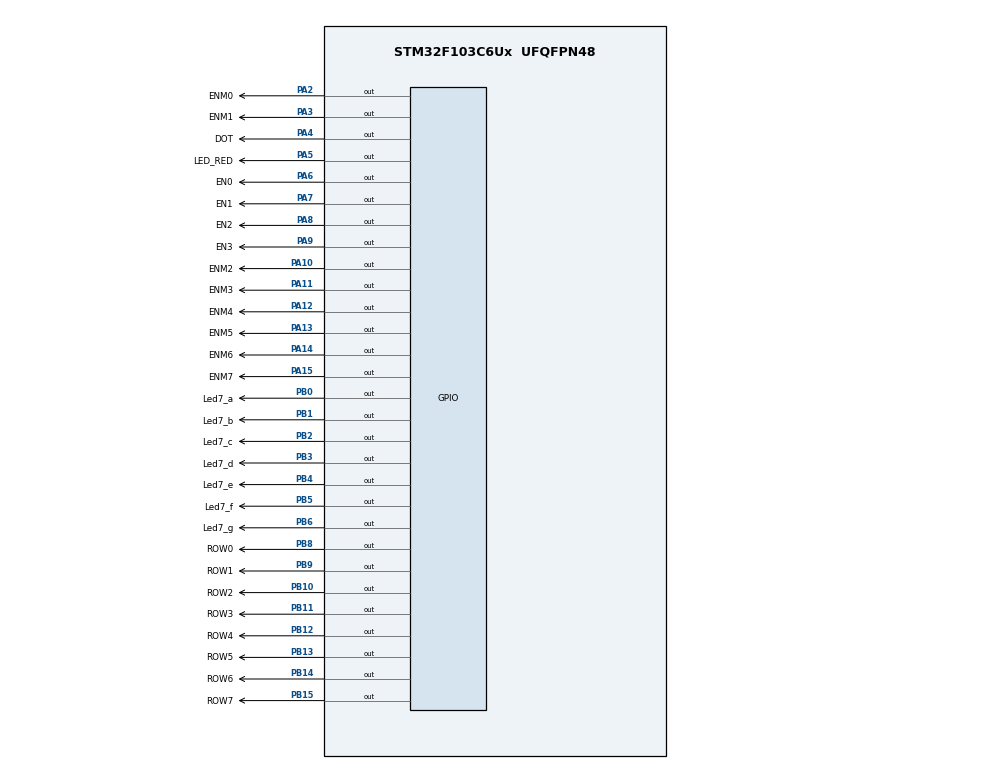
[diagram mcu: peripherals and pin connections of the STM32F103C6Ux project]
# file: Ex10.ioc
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Mcu.Family=STM32F1
Mcu.Name=STM32F103C6Ux
Mcu.Package=UFQFPN48
NVIC.PriorityGroup=NVIC_PRIORITYGROUP_4
NVIC.TIM2_IRQn=true\:0\:0\:false\:false\:true\:true\:true
PA10.GPIO_Label=ENM2
PA10.Signal=GPIO_Output
PA11.GPIO_Label=ENM3
PA11.Signal=GPIO_Output
PA12.GPIO_Label=ENM4
PA12.Signal=GPIO_Output
PA13.GPIO_Label=ENM5
PA13.Signal=GPIO_Output
PA14.GPIO_Label=ENM6
PA14.Signal=GPIO_Output
PA15.GPIO_Label=ENM7
PA15.Signal=GPIO_Output
PA2.GPIO_Label=ENM0
PA2.Signal=GPIO_Output
PA3.GPIO_Label=ENM1
PA3.Signal=GPIO_Output
PA4.GPIO_Label=DOT
PA4.Signal=GPIO_Output
PA5.GPIO_Label=LED_RED
PA5.Signal=GPIO_Output
PA6.GPIO_Label=EN0
PA6.Signal=GPIO_Output
PA7.GPIO_Label=EN1
PA7.Signal=GPIO_Output
PA8.GPIO_Label=EN2
PA8.Signal=GPIO_Output
PA9.GPIO_Label=EN3
PA9.Signal=GPIO_Output
PB0.GPIO_Label=Led7_a
PB0.Signal=GPIO_Output
PB1.GPIO_Label=Led7_b
PB1.Signal=GPIO_Output
PB10.GPIO_Label=ROW2
PB10.Signal=GPIO_Output
PB11.GPIO_Label=ROW3
PB11.Signal=GPIO_Output
PB12.GPIO_Label=ROW4
PB12.Signal=GPIO_Output
PB13.GPIO_Label=ROW5
PB13.Signal=GPIO_Output
PB14.GPIO_Label=ROW6
PB14.Signal=GPIO_Output
PB15.GPIO_Label=ROW7
PB15.Signal=GPIO_Output
PB2.GPIO_Label=Led7_c
PB2.Signal=GPIO_Output
PB3.GPIO_Label=Led7_d
PB3.Signal=GPIO_Output
PB4.GPIO_Label=Led7_e
PB4.Signal=GPIO_Output
PB5.GPIO_Label=Led7_f
PB5.Signal=GPIO_Output
PB6.GPIO_Label=Led7_g
PB6.Signal=GPIO_Output
PB8.GPIO_Label=ROW0
PB8.Signal=GPIO_Output
PB9.GPIO_Label=ROW1
PB9.Signal=GPIO_Output
ProjectManager.HeapSize=0x200
ProjectManager.StackSize=0x400
ProjectManager.TargetToolchain=STM32CubeIDE
RCC.APB1Freq_Value=8000000
RCC.APB2Freq_Value=8000000
TIM2.Period=9
TIM2.Prescaler=7999
VP_SYS_VS_ND.Mode=No_Debug
VP_TIM2_VS_ClockSourceINT.Mode=Internal
board=custom

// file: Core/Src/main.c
/* USER CODE BEGIN Header */
/**
 ******************************************************************************
 * @file           : main.c
 * @brief          : Main program body
 ******************************************************************************
 * @attention
 *
 * <h2><center>&copy; Copyright (c) 2021 STMicroelectronics.
 * All rights reserved.</center></h2>
 *
 * This software component is licensed by ST under BSD 3-Clause license,
 * the "License"; You may not use this file except in compliance with the
 * License. You may obtain a copy of the License at:
 *                        opensource.org/licenses/BSD-3-Clause
 *
 ******************************************************************************
 */
/* USER CODE END Header */
#include "main.h"

TIM_HandleTypeDef htim2;

/* USER CODE BEGIN PV */
static GPIO_TypeDef *const LED7_PORT[7] = {
Led7_a_GPIO_Port, Led7_b_GPIO_Port, Led7_c_GPIO_Port, Led7_d_GPIO_Port,
Led7_e_GPIO_Port, Led7_f_GPIO_Port, Led7_g_GPIO_Port };

static const uint16_t LED7_PINS[7] = {
Led7_a_Pin, Led7_b_Pin, Led7_c_Pin, Led7_d_Pin, Led7_e_Pin, Led7_f_Pin,
Led7_g_Pin };

static const uint8_t LED7_MAP[10] = { 0b00111111, // 0
		0b00000110, // 1
		0b01011011, // 2
		0b01001111, // 3
		0b01100110, // 4
		0b01101101, // 5
		0b01111101, // 6
		0b00000111, // 7
		0b01111111, // 8
		0b01101111,  // 9
		};

const int MAX_LED = 4;

typedef enum {
	NUM1, NUM2, NUM3, NUM4
} num;
typedef enum {
	DARK, BRIGHT
} dot;

int led_buffer[4] = { 1, 0, 2, 0 };

const int MAX_LED_MATRIX = 8;
int index_led_matrix = 0;
uint8_t matrix_buffer[8] = { 0x00, // cột 0 (trái ngoài)
		0x7C, // cột 1
		0x12, // cột 2
		0x11, // cột 3
		0x11, // cột 4
		0x12, // cột 5
		0x7C, // cột 6
		0x00  // cột 7 (phải ngoài)
		};

static GPIO_TypeDef *const MATRIX_PORT[8] = {
ROW0_GPIO_Port, ROW1_GPIO_Port, ROW2_GPIO_Port, ROW3_GPIO_Port,
ROW4_GPIO_Port, ROW5_GPIO_Port, ROW6_GPIO_Port, ROW7_GPIO_Port };

static const uint16_t MATRIX_PIN[8] = {
ROW0_Pin, ROW1_Pin, ROW2_Pin, ROW3_Pin,
ROW4_Pin, ROW5_Pin, ROW6_Pin, ROW7_Pin };

#define GLYPH_LEN 8

// Mảng mô tả ký tự 'A' (các cột từ trái sang phải).
// Mình để padding 0 ở đầu và cuối để ký tự chui vào/ra màn hình mượt.
const uint8_t glyph_A[GLYPH_LEN] = {
    0x00, // padding
    0x7C, // 01111100
    0x12, // 00010010
    0x11, // 00010001
    0x11, // 00010001
    0x12, // 00010010
    0x7C, // 01111100
    0x00, // padding
};

// Scroll control
int scroll_offset = 0;         // vị trí bắt đầu lấy cửa sổ từ glyph_A
int scroll_tick = 0;           // đếm số frame (full refresh) đã trôi qua
const int SCROLL_SPEED_FRAMES = 1;

/* USER CODE END PV */

void SystemClock_Config(void);
static void MX_GPIO_Init(void);
static void MX_TIM2_Init(void);
/* USER CODE BEGIN PFP */
void HAL_TIM_PeriodElapsedCallback(TIM_HandleTypeDef*);
static void set_LED7_by_mask(uint8_t);
static void clear7SEG(void);
static void display7SEG(int);
static void initState(void);
static void update7SEG(int);
static void updateClockBuffer();
static void updateLEDMatrix(int);
static void displayLEDmatrix(uint8_t);
static void updateMatrixWindow(int);

/* USER CODE END PFP */

/* USER CODE BEGIN 0 */
int timer0_counter = 0;
int timer0_flag = 0;

int timer1_counter = 0;
int timer1_flag = 0;

int timer2_counter = 0;
int timer2_flag = 0;

int timer3_counter = 0;
int timer3_flag = 0;

int TIMER_CYCLE = 10;

int minute = 0;
int hour = 0;
int second = 0;
//Timer for counter seconds
void setTimer0(int duration) {
	timer0_counter = duration / TIMER_CYCLE;
	timer0_flag = 0;
}

//Timer for adjusting frequency of LED 7SEGs
void setTimer1(int duration) {
	timer1_counter = duration / TIMER_CYCLE;
	timer1_flag = 0;
}

//Timer for controlling LED dots
void setTimer2(int duration) {
	timer2_counter = duration / TIMER_CYCLE;
	timer2_flag = 0;
}

//Timer for controlling LED matrix
void setTimer3(int duration) {
	timer3_counter = duration / TIMER_CYCLE;
	timer3_flag = 0;
}

void timer_run() {
	if (timer0_counter > 0) {
		timer0_counter--;
		if (timer0_counter == 0)
			timer0_flag = 1;
	}
	if (timer1_counter > 0) {
		timer1_counter--;
		if (timer1_counter == 0)
			timer1_flag = 1;
	}
	if (timer2_counter > 0) {
		timer2_counter--;
		if (timer2_counter == 0)
			timer2_flag = 1;
	}
	if (timer3_counter > 0) {
		timer3_counter--;
		if (timer3_counter == 0)
			timer3_flag = 1;
	}
}
/* USER CODE END 0 */

int main(void) {

	/* MCU Configuration--------------------------------------------------------*/

	/* Reset of all peripherals, Initializes the Flash interface and the Systick. */
	HAL_Init();

	/* Configure the system clock */
	SystemClock_Config();

	/* Initialize all configured peripherals */
	MX_GPIO_Init();
	MX_TIM2_Init();
	/* USER CODE BEGIN 2 */
	HAL_TIM_Base_Start_IT(&htim2);
	initState();
	/* USER CODE END 2 */

	/* Infinite loop */
	/* USER CODE BEGIN WHILE */
	setTimer0(1000);
	setTimer1(1000);
	setTimer2(1000);
	setTimer3(1000);
	updateMatrixWindow(scroll_offset);
	dot dot_state = BRIGHT;
	second = 50;
	minute = 59;
	hour = 10;

	int time0 = 1000;
	int time1 = 500;
	int time2_dark = 300;
	int time2_bright = 700;
	int time3 = 250;

	int index_led = 0;
	int index_col = 0;
	while (1) {
		/* USER CODE END WHILE */
		if (timer0_flag == 1) {
			setTimer0(time0);
			second++;
			if (second >= 60) {
				second = 0;
				minute++;
			}
			if (minute >= 60) {
				minute = 0;
				hour++;
			}
			if (hour >= 24) {
				hour = 0;
			}
			updateClockBuffer();
		}

		if (timer1_flag == 1) {
			setTimer1(time1);
			update7SEG(index_led);
			index_led++;
			if (index_led >= MAX_LED) {
				index_led = 0;
			}
		}

		if (timer2_flag == 1) {
			switch (dot_state) {
			case BRIGHT:
				setTimer2(time2_dark);
				HAL_GPIO_WritePin(DOT_GPIO_Port, DOT_Pin, GPIO_PIN_SET);
				dot_state = DARK;
				break;
			case DARK:
				setTimer2(time2_bright);
				HAL_GPIO_WritePin(DOT_GPIO_Port, DOT_Pin, GPIO_PIN_RESET);
				dot_state = BRIGHT;
				break;
			default:
				break;
			}

		}

		if (timer3_flag == 1)
		{
		    setTimer3(time3);
		    updateLEDMatrix(index_col);
		    index_col++;
		    if(index_col >= MAX_LED_MATRIX)
		    {
		        index_col = 0;

		        // Một full-frame (đã quét 8 cột) hoàn thành -> tăng tick
		        scroll_tick++;
		        if (scroll_tick >= SCROLL_SPEED_FRAMES) {
		            scroll_tick = 0;
		            // dịch ký tự sang trái 1 cột
		            scroll_offset++;
		            if (scroll_offset >= GLYPH_LEN) scroll_offset = 0; // quay vòng
		            updateMatrixWindow(scroll_offset); // cập nhật matrix_buffer mới
		        }
		    }
		}

	}
}

void SystemClock_Config(void) {
	RCC_OscInitTypeDef RCC_OscInitStruct = { 0 };
	RCC_ClkInitTypeDef RCC_ClkInitStruct = { 0 };

	/** Initializes the RCC Oscillators according to the specified parameters
	 * in the RCC_OscInitTypeDef structure.
	 */
	RCC_OscInitStruct.OscillatorType = RCC_OSCILLATORTYPE_HSI;
	RCC_OscInitStruct.HSIState = RCC_HSI_ON;
	RCC_OscInitStruct.HSICalibrationValue = RCC_HSICALIBRATION_DEFAULT;
	RCC_OscInitStruct.PLL.PLLState = RCC_PLL_NONE;
	if (HAL_RCC_OscConfig(&RCC_OscInitStruct) != HAL_OK) {
		Error_Handler();
	}
	/** Initializes the CPU, AHB and APB buses clocks
	 */
	RCC_ClkInitStruct.ClockType = RCC_CLOCKTYPE_HCLK | RCC_CLOCKTYPE_SYSCLK
			| RCC_CLOCKTYPE_PCLK1 | RCC_CLOCKTYPE_PCLK2;
	RCC_ClkInitStruct.SYSCLKSource = RCC_SYSCLKSOURCE_HSI;
	RCC_ClkInitStruct.AHBCLKDivider = RCC_SYSCLK_DIV1;
	RCC_ClkInitStruct.APB1CLKDivider = RCC_HCLK_DIV1;
	RCC_ClkInitStruct.APB2CLKDivider = RCC_HCLK_DIV1;

	if (HAL_RCC_ClockConfig(&RCC_ClkInitStruct, FLASH_LATENCY_0) != HAL_OK) {
		Error_Handler();
	}
}

static void MX_TIM2_Init(void) {

	TIM_ClockConfigTypeDef sClockSourceConfig = { 0 };
	TIM_MasterConfigTypeDef sMasterConfig = { 0 };

	htim2.Instance = TIM2;
	htim2.Init.Prescaler = 7999;
	htim2.Init.CounterMode = TIM_COUNTERMODE_UP;
	htim2.Init.Period = 9;
	htim2.Init.ClockDivision = TIM_CLOCKDIVISION_DIV1;
	htim2.Init.AutoReloadPreload = TIM_AUTORELOAD_PRELOAD_DISABLE;
	if (HAL_TIM_Base_Init(&htim2) != HAL_OK) {
		Error_Handler();
	}
	sClockSourceConfig.ClockSource = TIM_CLOCKSOURCE_INTERNAL;
	if (HAL_TIM_ConfigClockSource(&htim2, &sClockSourceConfig) != HAL_OK) {
		Error_Handler();
	}
	sMasterConfig.MasterOutputTrigger = TIM_TRGO_RESET;
	sMasterConfig.MasterSlaveMode = TIM_MASTERSLAVEMODE_DISABLE;
	if (HAL_TIMEx_MasterConfigSynchronization(&htim2, &sMasterConfig)
			!= HAL_OK) {
		Error_Handler();
	}

}

static void MX_GPIO_Init(void) {
	GPIO_InitTypeDef GPIO_InitStruct = { 0 };

	/* GPIO Ports Clock Enable */
	__HAL_RCC_GPIOA_CLK_ENABLE();
	__HAL_RCC_GPIOB_CLK_ENABLE();

	/*Configure GPIO pin Output Level */
	HAL_GPIO_WritePin(GPIOA,
			ENM0_Pin | ENM1_Pin | DOT_Pin | LED_RED_Pin | EN0_Pin | EN1_Pin
					| EN2_Pin | EN3_Pin | ENM2_Pin | ENM3_Pin | ENM4_Pin
					| ENM5_Pin | ENM6_Pin | ENM7_Pin, GPIO_PIN_RESET);

	/*Configure GPIO pin Output Level */
	HAL_GPIO_WritePin(GPIOB,
			Led7_a_Pin | Led7_b_Pin | Led7_c_Pin | ROW2_Pin | ROW3_Pin
					| ROW4_Pin | ROW5_Pin | ROW6_Pin | ROW7_Pin | Led7_d_Pin
					| Led7_e_Pin | Led7_f_Pin | Led7_g_Pin | ROW0_Pin | ROW1_Pin,
			GPIO_PIN_RESET);

	/*Configure GPIO pins : ENM0_Pin ENM1_Pin DOT_Pin LED_RED_Pin
	 EN0_Pin EN1_Pin EN2_Pin EN3_Pin
	 ENM2_Pin ENM3_Pin ENM4_Pin ENM5_Pin
	 ENM6_Pin ENM7_Pin */
	GPIO_InitStruct.Pin = ENM0_Pin | ENM1_Pin | DOT_Pin | LED_RED_Pin | EN0_Pin
			| EN1_Pin | EN2_Pin | EN3_Pin | ENM2_Pin | ENM3_Pin | ENM4_Pin
			| ENM5_Pin | ENM6_Pin | ENM7_Pin;
	GPIO_InitStruct.Mode = GPIO_MODE_OUTPUT_PP;
	GPIO_InitStruct.Pull = GPIO_NOPULL;
	GPIO_InitStruct.Speed = GPIO_SPEED_FREQ_LOW;
	HAL_GPIO_Init(GPIOA, &GPIO_InitStruct);

	/*Configure GPIO pins : Led7_a_Pin Led7_b_Pin Led7_c_Pin ROW2_Pin
	 ROW3_Pin ROW4_Pin ROW5_Pin ROW6_Pin
	 ROW7_Pin Led7_d_Pin Led7_e_Pin Led7_f_Pin
	 Led7_g_Pin ROW0_Pin ROW1_Pin */
	GPIO_InitStruct.Pin = Led7_a_Pin | Led7_b_Pin | Led7_c_Pin | ROW2_Pin
			| ROW3_Pin | ROW4_Pin | ROW5_Pin | ROW6_Pin | ROW7_Pin | Led7_d_Pin
			| Led7_e_Pin | Led7_f_Pin | Led7_g_Pin | ROW0_Pin | ROW1_Pin;
	GPIO_InitStruct.Mode = GPIO_MODE_OUTPUT_PP;
	GPIO_InitStruct.Pull = GPIO_NOPULL;
	GPIO_InitStruct.Speed = GPIO_SPEED_FREQ_LOW;
	HAL_GPIO_Init(GPIOB, &GPIO_InitStruct);

}

/* USER CODE BEGIN 4 */

void HAL_TIM_PeriodElapsedCallback(TIM_HandleTypeDef *htim) {
	timer_run();
}

static void set_LED7_by_mask(uint8_t mask) {
	for (int s = 0; s < 7; s++) {

		GPIO_TypeDef *port = (GPIO_TypeDef*) LED7_PORT[s];
		uint16_t pin = LED7_PINS[s];

		if ((mask >> s) & 1) {
			HAL_GPIO_WritePin(port, pin, GPIO_PIN_RESET); // Turn on segment
		} else {
			HAL_GPIO_WritePin(port, pin, GPIO_PIN_SET); // Turn off segment
		}
	}
}

void clear7SEG() {
	display7SEG(10);
}

void display7SEG(int number) {
	if (number > 9) {
		set_LED7_by_mask(0x00); // Turn off all segments
	} else {
		uint8_t mask = LED7_MAP[number];
		set_LED7_by_mask(mask);
	}
}

void initState() {
	clear7SEG();
	HAL_GPIO_WritePin(LED_RED_GPIO_Port, LED_RED_Pin, GPIO_PIN_RESET);
	HAL_GPIO_WritePin(EN0_GPIO_Port, EN0_Pin, GPIO_PIN_SET);
	HAL_GPIO_WritePin(EN1_GPIO_Port, EN1_Pin, GPIO_PIN_SET);
	HAL_GPIO_WritePin(EN2_GPIO_Port, EN2_Pin, GPIO_PIN_SET);
	HAL_GPIO_WritePin(EN3_GPIO_Port, EN3_Pin, GPIO_PIN_SET);
	HAL_GPIO_WritePin(DOT_GPIO_Port, DOT_Pin, GPIO_PIN_RESET);
	HAL_GPIO_WritePin(ENM0_GPIO_Port, ENM0_Pin, GPIO_PIN_SET);
	HAL_GPIO_WritePin(ENM1_GPIO_Port, ENM1_Pin, GPIO_PIN_SET);
	HAL_GPIO_WritePin(ENM2_GPIO_Port, ENM2_Pin, GPIO_PIN_SET);
	HAL_GPIO_WritePin(ENM3_GPIO_Port, ENM3_Pin, GPIO_PIN_SET);
	HAL_GPIO_WritePin(ENM4_GPIO_Port, ENM4_Pin, GPIO_PIN_SET);
	HAL_GPIO_WritePin(ENM5_GPIO_Port, ENM5_Pin, GPIO_PIN_SET);
	HAL_GPIO_WritePin(ENM6_GPIO_Port, ENM6_Pin, GPIO_PIN_SET);
	HAL_GPIO_WritePin(ENM7_GPIO_Port, ENM7_Pin, GPIO_PIN_SET);
}

void update7SEG(int index) {
	switch (index) {
	case 0:
		display7SEG(led_buffer[0]);
		HAL_GPIO_WritePin(EN0_GPIO_Port, EN0_Pin, GPIO_PIN_RESET);
		HAL_GPIO_WritePin(EN1_GPIO_Port, EN1_Pin, GPIO_PIN_SET);
		HAL_GPIO_WritePin(EN2_GPIO_Port, EN2_Pin, GPIO_PIN_SET);
		HAL_GPIO_WritePin(EN3_GPIO_Port, EN3_Pin, GPIO_PIN_SET);
		break;
	case 1:
		display7SEG(led_buffer[1]);
		HAL_GPIO_WritePin(EN0_GPIO_Port, EN0_Pin, GPIO_PIN_SET);
		HAL_GPIO_WritePin(EN1_GPIO_Port, EN1_Pin, GPIO_PIN_RESET);
		HAL_GPIO_WritePin(EN2_GPIO_Port, EN2_Pin, GPIO_PIN_SET);
		HAL_GPIO_WritePin(EN3_GPIO_Port, EN3_Pin, GPIO_PIN_SET);
		break;
	case 2:
		display7SEG(led_buffer[2]);
		HAL_GPIO_WritePin(EN0_GPIO_Port, EN0_Pin, GPIO_PIN_SET);
		HAL_GPIO_WritePin(EN1_GPIO_Port, EN1_Pin, GPIO_PIN_SET);
		HAL_GPIO_WritePin(EN2_GPIO_Port, EN2_Pin, GPIO_PIN_RESET);
		HAL_GPIO_WritePin(EN3_GPIO_Port, EN3_Pin, GPIO_PIN_SET);
		break;
	case 3:
		display7SEG(led_buffer[3]);
		HAL_GPIO_WritePin(EN0_GPIO_Port, EN0_Pin, GPIO_PIN_SET);
		HAL_GPIO_WritePin(EN1_GPIO_Port, EN1_Pin, GPIO_PIN_SET);
		HAL_GPIO_WritePin(EN2_GPIO_Port, EN2_Pin, GPIO_PIN_SET);
		HAL_GPIO_WritePin(EN3_GPIO_Port, EN3_Pin, GPIO_PIN_RESET);
		break;
	default:
		break;
	}
}

void updateClockBuffer() {
	led_buffer[0] = hour / 10;
	led_buffer[1] = hour % 10;
	led_buffer[2] = minute / 10;
	led_buffer[3] = minute % 10;
}

void updateLEDMatrix(int index) {
	switch (index) {
	case 0:
		displayLEDmatrix(matrix_buffer[0]);
		HAL_GPIO_WritePin(ENM0_GPIO_Port, ENM0_Pin, GPIO_PIN_RESET);
		HAL_GPIO_WritePin(ENM1_GPIO_Port, ENM1_Pin, GPIO_PIN_SET);
		HAL_GPIO_WritePin(ENM2_GPIO_Port, ENM2_Pin, GPIO_PIN_SET);
		HAL_GPIO_WritePin(ENM3_GPIO_Port, ENM3_Pin, GPIO_PIN_SET);
		HAL_GPIO_WritePin(ENM4_GPIO_Port, ENM4_Pin, GPIO_PIN_SET);
		HAL_GPIO_WritePin(ENM5_GPIO_Port, ENM5_Pin, GPIO_PIN_SET);
		HAL_GPIO_WritePin(ENM6_GPIO_Port, ENM6_Pin, GPIO_PIN_SET);
		HAL_GPIO_WritePin(ENM7_GPIO_Port, ENM7_Pin, GPIO_PIN_SET);
		break;
	case 1:
		displayLEDmatrix(matrix_buffer[1]);
		HAL_GPIO_WritePin(ENM0_GPIO_Port, ENM0_Pin, GPIO_PIN_SET);
		HAL_GPIO_WritePin(ENM1_GPIO_Port, ENM1_Pin, GPIO_PIN_RESET);
		HAL_GPIO_WritePin(ENM2_GPIO_Port, ENM2_Pin, GPIO_PIN_SET);
		HAL_GPIO_WritePin(ENM3_GPIO_Port, ENM3_Pin, GPIO_PIN_SET);
		HAL_GPIO_WritePin(ENM4_GPIO_Port, ENM4_Pin, GPIO_PIN_SET);
		HAL_GPIO_WritePin(ENM5_GPIO_Port, ENM5_Pin, GPIO_PIN_SET);
		HAL_GPIO_WritePin(ENM6_GPIO_Port, ENM6_Pin, GPIO_PIN_SET);
		HAL_GPIO_WritePin(ENM7_GPIO_Port, ENM7_Pin, GPIO_PIN_SET);
		break;
	case 2:
		displayLEDmatrix(matrix_buffer[2]);
		HAL_GPIO_WritePin(ENM0_GPIO_Port, ENM0_Pin, GPIO_PIN_SET);
		HAL_GPIO_WritePin(ENM1_GPIO_Port, ENM1_Pin, GPIO_PIN_SET);
		HAL_GPIO_WritePin(ENM2_GPIO_Port, ENM2_Pin, GPIO_PIN_RESET);
		HAL_GPIO_WritePin(ENM3_GPIO_Port, ENM3_Pin, GPIO_PIN_SET);
		HAL_GPIO_WritePin(ENM4_GPIO_Port, ENM4_Pin, GPIO_PIN_SET);
		HAL_GPIO_WritePin(ENM5_GPIO_Port, ENM5_Pin, GPIO_PIN_SET);
		HAL_GPIO_WritePin(ENM6_GPIO_Port, ENM6_Pin, GPIO_PIN_SET);
		HAL_GPIO_WritePin(ENM7_GPIO_Port, ENM7_Pin, GPIO_PIN_SET);
		break;
	case 3:
		displayLEDmatrix(matrix_buffer[3]);
		HAL_GPIO_WritePin(ENM0_GPIO_Port, ENM0_Pin, GPIO_PIN_SET);
		HAL_GPIO_WritePin(ENM1_GPIO_Port, ENM1_Pin, GPIO_PIN_SET);
		HAL_GPIO_WritePin(ENM2_GPIO_Port, ENM2_Pin, GPIO_PIN_SET);
		HAL_GPIO_WritePin(ENM3_GPIO_Port, ENM3_Pin, GPIO_PIN_RESET);
		HAL_GPIO_WritePin(ENM4_GPIO_Port, ENM4_Pin, GPIO_PIN_SET);
		HAL_GPIO_WritePin(ENM5_GPIO_Port, ENM5_Pin, GPIO_PIN_SET);
		HAL_GPIO_WritePin(ENM6_GPIO_Port, ENM6_Pin, GPIO_PIN_SET);
		HAL_GPIO_WritePin(ENM7_GPIO_Port, ENM7_Pin, GPIO_PIN_SET);
		break;
	case 4:
		displayLEDmatrix(matrix_buffer[4]);
		HAL_GPIO_WritePin(ENM0_GPIO_Port, ENM0_Pin, GPIO_PIN_SET);
		HAL_GPIO_WritePin(ENM1_GPIO_Port, ENM1_Pin, GPIO_PIN_SET);
		HAL_GPIO_WritePin(ENM2_GPIO_Port, ENM2_Pin, GPIO_PIN_SET);
		HAL_GPIO_WritePin(ENM3_GPIO_Port, ENM3_Pin, GPIO_PIN_SET);
		HAL_GPIO_WritePin(ENM4_GPIO_Port, ENM4_Pin, GPIO_PIN_RESET);
		HAL_GPIO_WritePin(ENM5_GPIO_Port, ENM5_Pin, GPIO_PIN_SET);
		HAL_GPIO_WritePin(ENM6_GPIO_Port, ENM6_Pin, GPIO_PIN_SET);
		HAL_GPIO_WritePin(ENM7_GPIO_Port, ENM7_Pin, GPIO_PIN_SET);
		break;
	case 5:
		displayLEDmatrix(matrix_buffer[5]);
		HAL_GPIO_WritePin(ENM0_GPIO_Port, ENM0_Pin, GPIO_PIN_SET);
		HAL_GPIO_WritePin(ENM1_GPIO_Port, ENM1_Pin, GPIO_PIN_SET);
		HAL_GPIO_WritePin(ENM2_GPIO_Port, ENM2_Pin, GPIO_PIN_SET);
		HAL_GPIO_WritePin(ENM3_GPIO_Port, ENM3_Pin, GPIO_PIN_SET);
		HAL_GPIO_WritePin(ENM4_GPIO_Port, ENM4_Pin, GPIO_PIN_SET);
		HAL_GPIO_WritePin(ENM5_GPIO_Port, ENM5_Pin, GPIO_PIN_RESET);
		HAL_GPIO_WritePin(ENM6_GPIO_Port, ENM6_Pin, GPIO_PIN_SET);
		HAL_GPIO_WritePin(ENM7_GPIO_Port, ENM7_Pin, GPIO_PIN_SET);
		break;
	case 6:
		displayLEDmatrix(matrix_buffer[6]);
		HAL_GPIO_WritePin(ENM0_GPIO_Port, ENM0_Pin, GPIO_PIN_SET);
		HAL_GPIO_WritePin(ENM1_GPIO_Port, ENM1_Pin, GPIO_PIN_SET);
		HAL_GPIO_WritePin(ENM2_GPIO_Port, ENM2_Pin, GPIO_PIN_SET);
		HAL_GPIO_WritePin(ENM3_GPIO_Port, ENM3_Pin, GPIO_PIN_SET);
		HAL_GPIO_WritePin(ENM4_GPIO_Port, ENM4_Pin, GPIO_PIN_SET);
		HAL_GPIO_WritePin(ENM5_GPIO_Port, ENM5_Pin, GPIO_PIN_SET);
		HAL_GPIO_WritePin(ENM6_GPIO_Port, ENM6_Pin, GPIO_PIN_RESET);
		HAL_GPIO_WritePin(ENM7_GPIO_Port, ENM7_Pin, GPIO_PIN_SET);
		break;
	case 7:
		displayLEDmatrix(matrix_buffer[7]);
		HAL_GPIO_WritePin(ENM0_GPIO_Port, ENM0_Pin, GPIO_PIN_SET);
		HAL_GPIO_WritePin(ENM1_GPIO_Port, ENM1_Pin, GPIO_PIN_SET);
		HAL_GPIO_WritePin(ENM2_GPIO_Port, ENM2_Pin, GPIO_PIN_SET);
		HAL_GPIO_WritePin(ENM3_GPIO_Port, ENM3_Pin, GPIO_PIN_SET);
		HAL_GPIO_WritePin(ENM4_GPIO_Port, ENM4_Pin, GPIO_PIN_SET);
		HAL_GPIO_WritePin(ENM5_GPIO_Port, ENM5_Pin, GPIO_PIN_SET);
		HAL_GPIO_WritePin(ENM6_GPIO_Port, ENM6_Pin, GPIO_PIN_SET);
		HAL_GPIO_WritePin(ENM7_GPIO_Port, ENM7_Pin, GPIO_PIN_RESET);
	default:
		break;
	}
}

void displayLEDmatrix(uint8_t mask) {
	for (int s = 0; s < MAX_LED_MATRIX; s++) {

		GPIO_TypeDef *port = (GPIO_TypeDef*) MATRIX_PORT[s];
		uint16_t pin = MATRIX_PIN[s];

		if ((mask >> s) & 1) {
			HAL_GPIO_WritePin(port, pin, GPIO_PIN_RESET); // Turn on segment
		} else {
			HAL_GPIO_WritePin(port, pin, GPIO_PIN_SET); // Turn off segment
		}
	}
}

void updateMatrixWindow(int offset)
{
    for (int c = 0; c < MAX_LED_MATRIX; c++) {
        int idx = offset + c;
        if (idx >= 0 && idx < GLYPH_LEN) {
            matrix_buffer[c] = glyph_A[idx];
        } else {
            matrix_buffer[c] = glyph_A[idx - MAX_LED_MATRIX]; // nếu vượt ngoài glyph, dùng cột trắng
        }
    }
}
/* USER CODE END 4 */

void Error_Handler(void) {
	__disable_irq();
	while (1) {
	}
}

/************************ (C) COPYRIGHT STMicroelectronics *****END OF FILE****/
